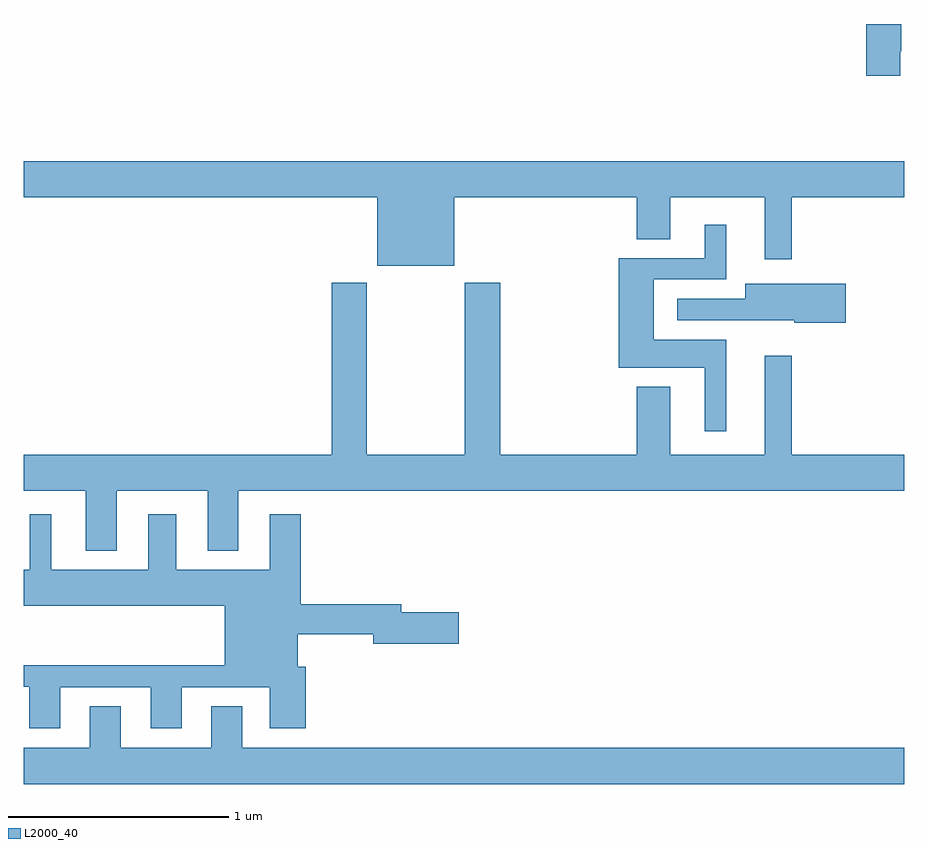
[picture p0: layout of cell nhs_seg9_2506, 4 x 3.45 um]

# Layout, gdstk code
import gdstk
lib = gdstk.Library(unit=1e-6, precision=1e-09)
def P(c, l, *ps):  # polygons
    for p in ps: c.add(gdstk.Polygon(p, *l))
L2000_40 = (2000, 40)

nhs_seg9_2506 = lib.new_cell('nhs_seg9_2506')
P(nhs_seg9_2506, L2000_40, [(256.981,1238.377),(256.986,1238.377),(256.986,1238.5),(256.826,1238.5),(256.826,1238.265),(256.981,1238.265)],
  [(254.956,1237.712),(255.785,1237.712),(255.785,1237.522),(255.937,1237.522),(255.937,1237.712),(256.367,1237.712),(256.367,1237.431),(256.489,1237.431),(256.489,1237.712),(257,1237.712),(257,1237.876),(253,1237.876),(253,1237.712),(254.606,1237.712),(254.606,1237.403),(254.956,1237.403)],
  [(256.192,1237.066),(255.862,1237.066),(255.862,1237.341),(256.192,1237.341),(256.192,1237.588),(256.094,1237.588),(256.094,1237.437),(255.704,1237.437),(255.704,1236.938),(256.094,1236.938),(256.094,1236.651),(256.192,1236.651)],
  [(253.423,1236.38),(253.835,1236.38),(253.835,1236.107),(253.975,1236.107),(253.975,1236.38),(257,1236.38),(257,1236.544),(256.489,1236.544),(256.489,1236.994),(256.367,1236.994),(256.367,1236.544),(255.937,1236.544),(255.937,1236.853),(255.785,1236.853),(255.785,1236.544),(255.164,1236.544),(255.164,1237.324),(255.004,1237.324),(255.004,1236.544),(254.559,1236.544),(254.559,1237.324),(254.399,1237.324),(254.399,1236.544),(253,1236.544),(253,1236.38),(253.283,1236.38),(253.283,1236.107),(253.423,1236.107)],
  [(256.735,1237.32),(256.277,1237.32),(256.277,1237.251),(255.969,1237.251),(255.969,1237.155),(256.281,1237.155),(256.281,1237.154),(256.5,1237.154),(256.5,1237.142),(256.735,1237.142)],
  [(253.165,1235.487),(253.577,1235.487),(253.577,1235.301),(253.717,1235.301),(253.717,1235.487),(254.117,1235.487),(254.117,1235.301),(254.282,1235.301),(254.282,1235.58),(254.245,1235.58),(254.245,1235.728),(254.588,1235.728),(254.588,1235.686),(254.977,1235.686),(254.977,1235.828),(254.716,1235.828),(254.716,1235.864),(254.258,1235.864),(254.258,1236.274),(254.117,1236.274),(254.117,1236.022),(253.693,1236.022),(253.693,1236.274),(253.565,1236.274),(253.565,1236.022),(253.126,1236.022),(253.126,1236.274),(253.028,1236.274),(253.028,1236.022),(253,1236.022),(253,1235.858),(253.913,1235.858),(253.913,1235.588),(253,1235.588),(253,1235.49),(253.025,1235.49),(253.025,1235.301),(253.165,1235.301)],
  [(253.853,1235.402),(253.853,1235.212),(253.441,1235.212),(253.441,1235.402),(253.301,1235.402),(253.301,1235.212),(253,1235.212),(253,1235.048),(257,1235.048),(257,1235.212),(253.993,1235.212),(253.993,1235.402)])

lib.write_gds('nhs_seg9_2506.gds')
